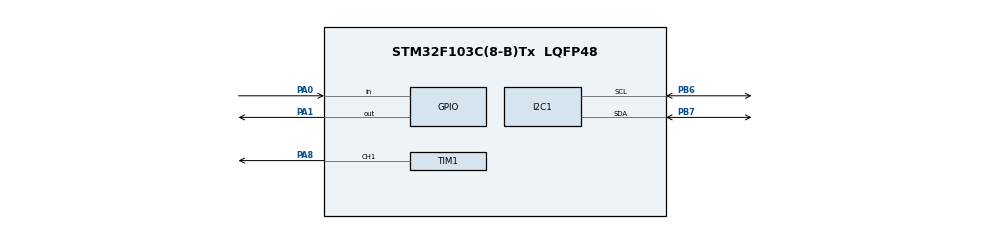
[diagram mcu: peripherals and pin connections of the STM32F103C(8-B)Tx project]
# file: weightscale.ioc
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Mcu.Family=STM32F1
Mcu.Name=STM32F103C(8-B)Tx
Mcu.Package=LQFP48
NVIC.PriorityGroup=NVIC_PRIORITYGROUP_4
PA0-WKUP.GPIO_PuPd=GPIO_PULLUP
PA0-WKUP.Signal=GPIO_Input
PA1.GPIO_ModeDefaultOutputPP=GPIO_MODE_OUTPUT_PP
PA1.GPIO_PuPd=GPIO_NOPULL
PA1.Signal=GPIO_Output
PA8.Signal=S_TIM1_CH1
PB6.GPIO_Speed=GPIO_SPEED_FREQ_HIGH
PB6.Mode=I2C
PB6.Signal=I2C1_SCL
PB7.Mode=I2C
PB7.Signal=I2C1_SDA
ProjectManager.HeapSize=0x200
ProjectManager.StackSize=0x400
ProjectManager.TargetToolchain=MDK-ARM V5.32
RCC.APB1Freq_Value=8000000
RCC.APB2Freq_Value=8000000
SH.S_TIM1_CH1.0=TIM1_CH1,Output Compare1 CH1
TIM1.Channel-Output\ Compare1\ CH1=TIM_CHANNEL_1
VP_SYS_VS_ND.Mode=No_Debug
board=custom

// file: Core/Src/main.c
/* USER CODE BEGIN Header */
/**
  ******************************************************************************
  * @file           : main.c
  * @brief          : Main program body
  ******************************************************************************
  * @attention
  *
  * Copyright (c) 2024 STMicroelectronics.
  * All rights reserved.
  *
  * This software is licensed under terms that can be found in the LICENSE file
  * in the root directory of this software component.
  * If no LICENSE file comes with this software, it is provided AS-IS.
  *
  ******************************************************************************
  */
/* USER CODE END Header */
#include "main.h"
#include <stdio.h>
/* USER CODE BEGIN Includes */
#include "stm32f1xx_hal.h"
//#include "CLCD_I2C.h"

/* USER CODE END Includes */

/* USER CODE BEGIN PD */
// Dinh nghia cac chan ket noi
#define HX711_SCK_PIN GPIO_PIN_0
#define HX711_SCK_PORT GPIOB
#define HX711_DT_PIN GPIO_PIN_1
#define HX711_DT_PORT GPIOB
/* USER CODE END PD */

// Bien toan cuc
hx711_t hx711;
float weight = 0;
long tare_offset = 0;
I2C_HandleTypeDef hi2c1;

TIM_HandleTypeDef htim1;
CLCD_I2C_Name LCD1;
/* USER CODE BEGIN PV */
// Hàm kh?i t?o HX711
void HX711_Init(void) {
    hx711.clk_pin = HX711_SCK_PIN;
    //hx711.sck_port = HX711_SCK_PORT;
    hx711.dat_pin = HX711_DT_PIN;
    //hx711.dt_port = HX711_DT_PORT;
    hx711.offset = 128; // M?c d?nh dùng kênh A, d? khu?ch d?i 128
    //HX711_begin(&hx711);
}

// Hàm hi?u chu?n tr?ng lu?ng
void Calibrate(void) {
    // Ð?c giá tr? tinh không có t?i (tare)
    tare_offset = hx711_value_ave(&hx711, 10); // Trung bình 10 l?n d?c
}

// Hàm doc trong luong
float Get_Weight(void) {
    long raw_value = hx711_value_ave(&hx711, 10); // Trung bình 10 l?n d?c
    return (raw_value - tare_offset) / 100.0f;    // Chia t? l? theo t?i tr?ng
}

/* USER CODE END PV */

void SystemClock_Config(void);
static void MX_GPIO_Init(void);
static void MX_I2C1_Init(void);
static void MX_TIM1_Init(void);

/* USER CODE BEGIN 0 */
CLCD_I2C_Name LCD1;
/* USER CODE END 0 */

int main(void)
{

  /* MCU Configuration--------------------------------------------------------*/

  /* Reset of all peripherals, Initializes the Flash interface and the Systick. */
  HAL_Init();

  /* Configure the system clock */
  SystemClock_Config();

  /* USER CODE BEGIN SysInit */
	// Kh?i t?o LCD và HX711
   //CLCD_I2C_Init();
    HX711_Init();

    // Hi?u chu?n cân
    Calibrate();

    // Hi?n th? thông tin ban d?u

		CLCD_I2C_Init(&LCD1,&hi2c1,0x4e,16,2);
		CLCD_I2C_Clear(&LCD1);
    CLCD_I2C_SetCursor(&LCD1,0, 0);
    CLCD_I2C_WriteString(&LCD1, "Weight:");
  /* USER CODE END SysInit */

  /* Initialize all configured peripherals */
  MX_GPIO_Init();
  MX_I2C1_Init();
  MX_TIM1_Init();

  /* Infinite loop */
  /* USER CODE BEGIN WHILE */
  while (1)
  {
		 // Ð?c và hi?n th? tr?ng lu?ng
        weight = Get_Weight();
        CLCD_I2C_SetCursor(&LCD1,0, 1);
        char buffer[]="abcd";
        //printf(buffer, sizeof(buffer), "%.2f kg", weight);
        CLCD_I2C_WriteString(&LCD1, buffer);

        HAL_Delay(500); // C?p nh?t m?i 500ms
    }
}
    /* USER CODE END WHILE */

    /* USER CODE BEGIN 3 */
  //}
  /* USER CODE END 3 */
//}

void SystemClock_Config(void)
{
  RCC_OscInitTypeDef RCC_OscInitStruct = {0};
  RCC_ClkInitTypeDef RCC_ClkInitStruct = {0};

  /** Initializes the RCC Oscillators according to the specified parameters
  * in the RCC_OscInitTypeDef structure.
  */
  RCC_OscInitStruct.OscillatorType = RCC_OSCILLATORTYPE_HSI;
  RCC_OscInitStruct.HSIState = RCC_HSI_ON;
  RCC_OscInitStruct.HSICalibrationValue = RCC_HSICALIBRATION_DEFAULT;
  RCC_OscInitStruct.PLL.PLLState = RCC_PLL_NONE;
  if (HAL_RCC_OscConfig(&RCC_OscInitStruct) != HAL_OK)
  {
    Error_Handler();
  }

  /** Initializes the CPU, AHB and APB buses clocks
  */
  RCC_ClkInitStruct.ClockType = RCC_CLOCKTYPE_HCLK|RCC_CLOCKTYPE_SYSCLK
                              |RCC_CLOCKTYPE_PCLK1|RCC_CLOCKTYPE_PCLK2;
  RCC_ClkInitStruct.SYSCLKSource = RCC_SYSCLKSOURCE_HSI;
  RCC_ClkInitStruct.AHBCLKDivider = RCC_SYSCLK_DIV1;
  RCC_ClkInitStruct.APB1CLKDivider = RCC_HCLK_DIV1;
  RCC_ClkInitStruct.APB2CLKDivider = RCC_HCLK_DIV1;

  if (HAL_RCC_ClockConfig(&RCC_ClkInitStruct, FLASH_LATENCY_0) != HAL_OK)
  {
    Error_Handler();
  }
}

static void MX_I2C1_Init(void)
{

  hi2c1.Instance = I2C1;
  hi2c1.Init.ClockSpeed = 100000;
  hi2c1.Init.DutyCycle = I2C_DUTYCYCLE_2;
  hi2c1.Init.OwnAddress1 = 0;
  hi2c1.Init.AddressingMode = I2C_ADDRESSINGMODE_7BIT;
  hi2c1.Init.DualAddressMode = I2C_DUALADDRESS_DISABLE;
  hi2c1.Init.OwnAddress2 = 0;
  hi2c1.Init.GeneralCallMode = I2C_GENERALCALL_DISABLE;
  hi2c1.Init.NoStretchMode = I2C_NOSTRETCH_DISABLE;
  if (HAL_I2C_Init(&hi2c1) != HAL_OK)
  {
    Error_Handler();
  }

}

static void MX_TIM1_Init(void)
{

  TIM_MasterConfigTypeDef sMasterConfig = {0};
  TIM_OC_InitTypeDef sConfigOC = {0};
  TIM_BreakDeadTimeConfigTypeDef sBreakDeadTimeConfig = {0};

  htim1.Instance = TIM1;
  htim1.Init.Prescaler = 0;
  htim1.Init.CounterMode = TIM_COUNTERMODE_UP;
  htim1.Init.Period = 65535;
  htim1.Init.ClockDivision = TIM_CLOCKDIVISION_DIV1;
  htim1.Init.RepetitionCounter = 0;
  htim1.Init.AutoReloadPreload = TIM_AUTORELOAD_PRELOAD_DISABLE;
  if (HAL_TIM_OC_Init(&htim1) != HAL_OK)
  {
    Error_Handler();
  }
  sMasterConfig.MasterOutputTrigger = TIM_TRGO_RESET;
  sMasterConfig.MasterSlaveMode = TIM_MASTERSLAVEMODE_DISABLE;
  if (HAL_TIMEx_MasterConfigSynchronization(&htim1, &sMasterConfig) != HAL_OK)
  {
    Error_Handler();
  }
  sConfigOC.OCMode = TIM_OCMODE_TIMING;
  sConfigOC.Pulse = 0;
  sConfigOC.OCPolarity = TIM_OCPOLARITY_HIGH;
  sConfigOC.OCNPolarity = TIM_OCNPOLARITY_HIGH;
  sConfigOC.OCFastMode = TIM_OCFAST_DISABLE;
  sConfigOC.OCIdleState = TIM_OCIDLESTATE_RESET;
  sConfigOC.OCNIdleState = TIM_OCNIDLESTATE_RESET;
  if (HAL_TIM_OC_ConfigChannel(&htim1, &sConfigOC, TIM_CHANNEL_1) != HAL_OK)
  {
    Error_Handler();
  }
  sBreakDeadTimeConfig.OffStateRunMode = TIM_OSSR_DISABLE;
  sBreakDeadTimeConfig.OffStateIDLEMode = TIM_OSSI_DISABLE;
  sBreakDeadTimeConfig.LockLevel = TIM_LOCKLEVEL_OFF;
  sBreakDeadTimeConfig.DeadTime = 0;
  sBreakDeadTimeConfig.BreakState = TIM_BREAK_DISABLE;
  sBreakDeadTimeConfig.BreakPolarity = TIM_BREAKPOLARITY_HIGH;
  sBreakDeadTimeConfig.AutomaticOutput = TIM_AUTOMATICOUTPUT_DISABLE;
  if (HAL_TIMEx_ConfigBreakDeadTime(&htim1, &sBreakDeadTimeConfig) != HAL_OK)
  {
    Error_Handler();
  }
  HAL_TIM_MspPostInit(&htim1);

}

static void MX_GPIO_Init(void)
{
  GPIO_InitTypeDef GPIO_InitStruct = {0};

  /* GPIO Ports Clock Enable */
  __HAL_RCC_GPIOA_CLK_ENABLE();
  __HAL_RCC_GPIOB_CLK_ENABLE();

  /*Configure GPIO pin Output Level */
  HAL_GPIO_WritePin(GPIOA, GPIO_PIN_1, GPIO_PIN_RESET);

  /*Configure GPIO pin : PA0 */
  GPIO_InitStruct.Pin = GPIO_PIN_0;
  GPIO_InitStruct.Mode = GPIO_MODE_INPUT;
  GPIO_InitStruct.Pull = GPIO_PULLUP;
  HAL_GPIO_Init(GPIOA, &GPIO_InitStruct);

  /*Configure GPIO pin : PA1 */
  GPIO_InitStruct.Pin = GPIO_PIN_1;
  GPIO_InitStruct.Mode = GPIO_MODE_OUTPUT_PP;
  GPIO_InitStruct.Pull = GPIO_NOPULL;
  GPIO_InitStruct.Speed = GPIO_SPEED_FREQ_LOW;
  HAL_GPIO_Init(GPIOA, &GPIO_InitStruct);

}

void Error_Handler(void)
{
  __disable_irq();
  while (1)
  {
  }
}
